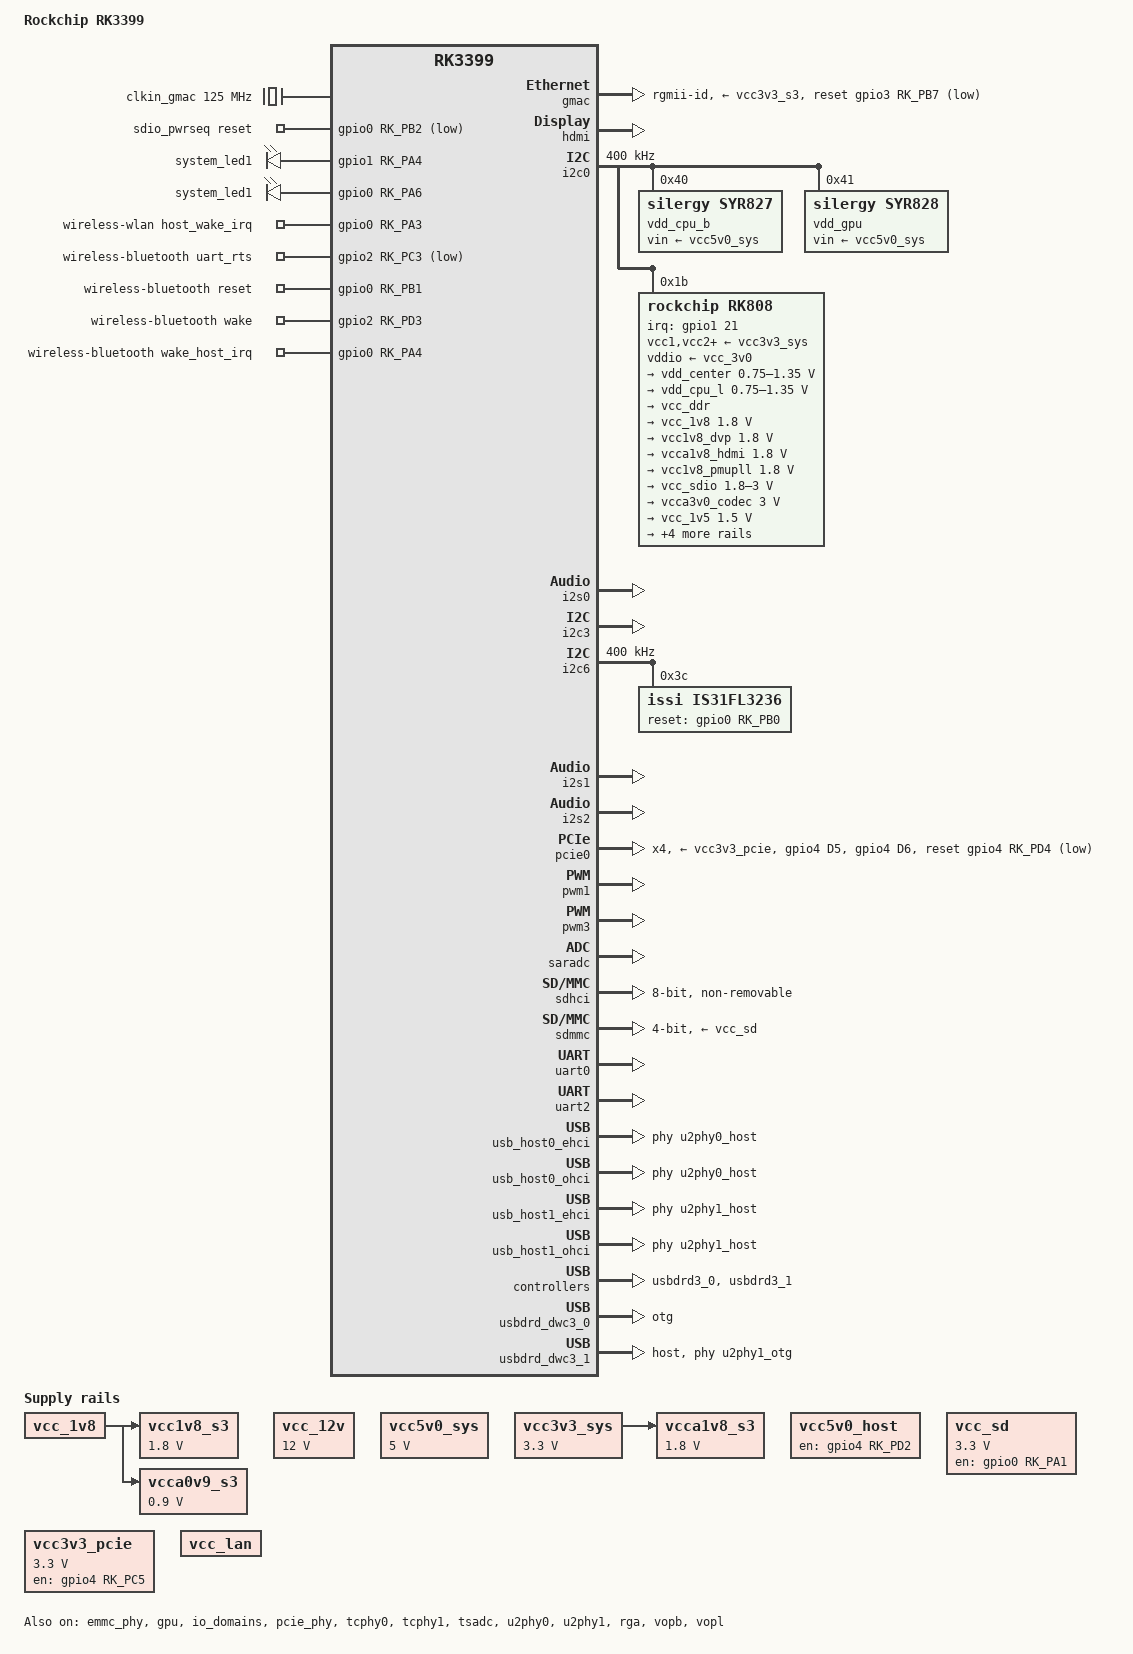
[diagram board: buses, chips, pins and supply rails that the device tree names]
// SPDX-License-Identifier: (GPL-2.0+ OR MIT)

/dts-v1/;
#include <dt-bindings/input/linux-event-codes.h>
#include <dt-bindings/leds/common.h>
#include <dt-bindings/pwm/pwm.h>
#include <dt-bindings/gpio/gpio.h>
#include "rk3399.dtsi"

/ {
	model = "Rockchip RK3399";
	compatible = "Tara,Tara-M", "rockchip,rk3399";

	aliases {
		mmc0 = &sdhci;
		mmc1 = &sdmmc;
		mmc2 = &sdio0;
	};

	chosen {
		stdout-path = "serial2:1500000n8";
	};


	clkin_gmac: external-gmac-clock {
		compatible = "fixed-clock";
		clock-frequency = <125000000>;
		clock-output-names = "clkin_gmac";
		#clock-cells = <0>;
	};

	clkin_gmac: external-gmac-clock {
		compatible = "fixed-clock";
		clock-frequency = <125000000>;
		clock-output-names = "clkin_gmac";
		#clock-cells = <0>;
	};

	sdio_pwrseq: sdio-pwrseq {
		compatible = "mmc-pwrseq-simple";
		clocks = <&rk808 1>;
		clock-names = "ext_clock";
		pinctrl-names = "default";
		pinctrl-0 = <&wifi_enable_h>;
		reset-gpios = <&gpio0 RK_PB2 GPIO_ACTIVE_LOW>;
	};

	vcc_12v: vcc-12v {
		compatible = "regulator-fixed";
		regulator-name = "vcc_12v";
		regulator-always-on;
		regulator-min-microvolt = <12000000>;
		regulator-max-microvolt = <12000000>;
	};

	vcc5v0_sys: vcc5v0-sys {
		compatible = "regulator-fixed";
		regulator-name = "vcc5v0_sys";
		regulator-always-on;
		regulator-min-microvolt = <5000000>;
		regulator-max-microvolt = <5000000>;
	};

	vcc1v8_s3: vcc1v8-s3 {
		compatible = "regulator-fixed";
		regulator-name = "vcc1v8_s3";
		regulator-always-on;
		regulator-min-microvolt = <1800000>;
		regulator-max-microvolt = <1800000>;
		vin-supply = <&vcc_1v8>;
	};

	vcc3v3_sys: vcc3v3-sys {
		compatible = "regulator-fixed";
		regulator-name = "vcc3v3_sys";
		regulator-always-on;
		regulator-boot-on;
		regulator-min-microvolt = <3300000>;
		regulator-max-microvolt = <3300000>;
	};

	vcc5v0_host: vcc5v0-host-regulator {
		compatible = "regulator-fixed";
		enable-active-high;
		gpio = <&gpio4 RK_PD2 GPIO_ACTIVE_HIGH>;
		pinctrl-names = "default";
		pinctrl-0 = <&vcc5v0_host_en>;
		regulator-name = "vcc5v0_host";
	};

	vcc_sd: vcc-sd {
		compatible = "regulator-fixed";
		regulator-name = "vcc_sd";
		enable-active-high;
		gpio = <&gpio0 RK_PA1 GPIO_ACTIVE_HIGH>;
		pinctrl-names = "default";
		pinctrl-0 = <&vcc_sd_h>;
		regulator-min-microvolt = <3300000>;
		regulator-max-microvolt = <3300000>;
	};

	vcc3v3_pcie: vcc3v3-pcie-regulator {
		compatible = "regulator-fixed";
		regulator-name = "vcc3v3_pcie";
		enable-active-high;
		gpio = <&gpio4 RK_PC5 GPIO_ACTIVE_HIGH>;
		pinctrl-names = "default";
		pinctrl-0 = <&pcie_pwr_en>;
		regulator-min-microvolt = <3300000>;
		regulator-max-microvolt = <3300000>;
		regulator-always-on;
		regulator-boot-on;
	};

	vcca1v8_s3: vcca1v8-s3 {
		compatible = "regulator-fixed";
		regulator-name = "vcca1v8_s3";
		regulator-always-on;
		regulator-boot-on;
		regulator-min-microvolt = <1800000>;
		regulator-max-microvolt = <1800000>;
		vin-supply = <&vcc3v3_sys>;
	};

	vcca0v9_s3: vcca0v9-s3 {
		compatible = "regulator-fixed";
		regulator-name = "vcca0v9_s3";
		regulator-always-on;
		regulator-boot-on;
		regulator-min-microvolt = <900000>;
		regulator-max-microvolt = <900000>;
		vin-supply = <&vcc_1v8>;
	};

	vcc_lan: vcc3v3-phy-regulator {
		compatible = "regulator-fixed";
		regulator-name = "vcc_lan";
		regulator-always-on;
		regulator-boot-on;
	};

	hdmi-sound {
		compatible = "simple-audio-card";
		simple-audio-card,format = "i2s";
		simple-audio-card,mclk-fs = <256>;
		simple-audio-card,name = "hdmi-sound";
		status = "okay";

		simple-audio-card,cpu {
			sound-dai = <&i2s2>;
		};
		simple-audio-card,codec {
			sound-dai = <&hdmi>;
		};
	};


	leds {
		compatible = "gpio-leds";
		pinctrl-names = "default";
		pinctrl-0 = <&leds_pins>;

		system-led1 {
			gpios = <&gpio1 RK_PA4 GPIO_ACTIVE_HIGH>;
			label = "system_led1";
			retain-state-suspended;
			linux,default-trigger = "default-on";
			default-state = "on";
		};
//风扇GPIO目前写成LED控制，兼容飞牛，默认开启风扇		
		system-led2 {
			gpios = <&gpio0 RK_PA6 GPIO_ACTIVE_HIGH>;
			label = "system_led1";
			retain-state-suspended;
			linux,default-trigger = "default-on";
			default-state = "on";
		};
	};
/*根据温度启停风扇，飞牛此配置无效。
	fan0: gpio-fan {
		#cooling-cells = <2>;
		compatible = "gpio-fan";
		gpio-fan,speed-map = <0 0 3000 1>;
		gpios = <&gpio0 RK_PA6 GPIO_ACTIVE_HIGH>;
		status = "okay";
	};*/


	wireless-wlan {
		compatible = "wlan-platdata";
		rockchip,grf = <&grf>;
		wifi_chip_type = "rtl8822cs";
		sdio_vref = <1800>;
		//pinctrl-names = "default";
        //pinctrl-0 = <&wifi_host_wake_irq>,<&wifi_enable_h>;
		WIFI,host_wake_irq = <&gpio0 RK_PA3 0>; /* GPIO0_a3 */
		//WIFI,poweren_gpio = <&gpio0 RK_PB2 GPIO_ACTIVE_HIGH>;
		status = "okay";
	};

	wireless-bluetooth {
		compatible = "bluetooth-platdata";
		//clocks = <&rk808 1>;
		//clock-names = "ext_clock";
		uart_rts_gpios = <&gpio2 RK_PC3 1>; /* GPIO2_C3 */
		pinctrl-names = "default", "rts_gpio";
		//pinctrl-0 = <&uart0_rts>, <&bt_reset_gpio>, <&bt_irq_gpio>;
		pinctrl-0 = <&uart0_rts>;
		pinctrl-1 = <&uart0_gpios>;
		BT,reset_gpio = <&gpio0 RK_PB1 0>; /* GPIO0_B1 */
        BT,wake_gpio = <&gpio2 RK_PD3 0>; /* GPIO2_D2 */
        BT,wake_host_irq = <&gpio0 RK_PA4 0>; /* GPIO0_A4 */
		status = "okay";
	};

};

&cpu_l0 {
	cpu-supply = <&vdd_cpu_l>;
};

&cpu_l1 {
	cpu-supply = <&vdd_cpu_l>;
};

&cpu_l2 {
	cpu-supply = <&vdd_cpu_l>;
};

&cpu_l3 {
	cpu-supply = <&vdd_cpu_l>;
};

&cpu_b0 {
	cpu-supply = <&vdd_cpu_b>;
};

&cpu_b1 {
	cpu-supply = <&vdd_cpu_b>;
};
/*根据温度启停风扇
&cpu_thermal {
	trips {
		cpu_hot: cpu_hot {
			hysteresis = <10000>;
			temperature = <30000>;
			type = "active";
		};
	};

	cooling-maps {
		map2 {
			cooling-device =
				<&fan0 THERMAL_NO_LIMIT THERMAL_NO_LIMIT>;
			trip = <&cpu_hot>;
		};
	};
};
*/
&emmc_phy {
	status = "okay";
};

&gmac {
	assigned-clocks = <&cru SCLK_RMII_SRC>;
	assigned-clock-parents = <&clkin_gmac>;
	clock_in_out = "input";
	phy-supply = <&vcc3v3_s3>;
	phy-mode = "rgmii-id";
	pinctrl-names = "default";
	pinctrl-0 = <&rgmii_pins>;
	snps,reset-gpio = <&gpio3 RK_PB7 GPIO_ACTIVE_LOW>;
	snps,reset-active-low;
	snps,reset-delays-us = <0 10000 50000>;
	tx_delay = <0x2a>;
	rx_delay = <0x21>;
	status = "okay";
	label = "eth0";
};

&gpu {
	mali-supply = <&vdd_gpu>;
	status = "okay";
};

&hdmi {
	avdd-0v9-supply = <&vcca0v9_s3>;
	avdd-1v8-supply = <&vcca1v8_s3>;
	ddc-i2c-bus = <&i2c3>;
	pinctrl-names = "default";
	pinctrl-0 = <&hdmi_cec>;
	status = "okay";
};

&i2c0 {
	clock-frequency = <400000>;
	i2c-scl-rising-time-ns = <168>;
	i2c-scl-falling-time-ns = <4>;
	status = "okay";


	vdd_cpu_b: syr827@40 {
		compatible = "silergy,syr827";
		reg = <0x40>;
		fcs,suspend-voltage-selector = <1>;
		regulator-name = "vdd_cpu_b";
		regulator-min-microvolt = <712500>;
		regulator-max-microvolt = <1500000>;
		regulator-ramp-delay = <1000>;
		regulator-always-on;
		regulator-boot-on;
		vin-supply = <&vcc5v0_sys>;
		status = "okay";

		regulator-state-mem {
			regulator-off-in-suspend;
		};
	};

	vdd_gpu: syr828@41 {
		compatible = "silergy,syr828";
		reg = <0x41>;
		fcs,suspend-voltage-selector = <1>;
		regulator-name = "vdd_gpu";
		regulator-min-microvolt = <712500>;
		regulator-max-microvolt = <1500000>;
		regulator-ramp-delay = <1000>;
		regulator-always-on;
		regulator-boot-on;
		vin-supply = <&vcc5v0_sys>;
		regulator-state-mem {
			regulator-off-in-suspend;
		};
	};
	rk808: pmic@1b {
		compatible = "rockchip,rk808";
		reg = <0x1b>;
		interrupt-parent = <&gpio1>;
		interrupts = <21 IRQ_TYPE_LEVEL_LOW>;
		#clock-cells = <1>;
		clock-output-names = "xin32k", "rk808-clkout2";
		pinctrl-names = "default";
		pinctrl-0 = <&pmic_int_l>;
		rockchip,system-power-controller;
		wakeup-source;

		vcc1-supply = <&vcc3v3_sys>;
		vcc2-supply = <&vcc3v3_sys>;
		vcc3-supply = <&vcc3v3_sys>;
		vcc4-supply = <&vcc3v3_sys>;
		vcc6-supply = <&vcc3v3_sys>;
		vcc7-supply = <&vcc3v3_sys>;
		vcc8-supply = <&vcc3v3_sys>;
		vcc9-supply = <&vcc3v3_sys>;
		vcc10-supply = <&vcc3v3_sys>;
		vcc11-supply = <&vcc3v3_sys>;
		vcc12-supply = <&vcc3v3_sys>;
		vddio-supply = <&vcc_3v0>;

		regulators {
			vdd_center: DCDC_REG1 {
				regulator-name = "vdd_center";
				regulator-always-on;
				regulator-boot-on;
				regulator-min-microvolt = <750000>;
				regulator-max-microvolt = <1350000>;
				regulator-ramp-delay = <6001>;

				regulator-state-mem {
					regulator-off-in-suspend;
				};
			};

			vdd_cpu_l: DCDC_REG2 {
				regulator-name = "vdd_cpu_l";
				regulator-always-on;
				regulator-boot-on;
				regulator-min-microvolt = <750000>;
				regulator-max-microvolt = <1350000>;
				regulator-ramp-delay = <6001>;

				regulator-state-mem {
					regulator-off-in-suspend;
				};
			};

			vcc_ddr: DCDC_REG3 {
				regulator-name = "vcc_ddr";
				regulator-always-on;
				regulator-boot-on;

				regulator-state-mem {
					regulator-on-in-suspend;
				};
			};

			vcc_1v8: DCDC_REG4 {
				regulator-name = "vcc_1v8";
				regulator-always-on;
				regulator-boot-on;
				regulator-min-microvolt = <1800000>;
				regulator-max-microvolt = <1800000>;

				regulator-state-mem {
					regulator-on-in-suspend;
					regulator-suspend-microvolt = <1800000>;
				};
			};

			vcc1v8_dvp: LDO_REG1 {
				regulator-name = "vcc1v8_dvp";
				regulator-always-on;
				regulator-boot-on;
				regulator-min-microvolt = <1800000>;
				regulator-max-microvolt = <1800000>;

				regulator-state-mem {
					regulator-on-in-suspend;
					regulator-suspend-microvolt = <1800000>;
				};
			};

			vcca1v8_hdmi: LDO_REG2 {
				regulator-name = "vcca1v8_hdmi";
				regulator-min-microvolt = <1800000>;
				regulator-max-microvolt = <1800000>;
				regulator-always-on;
				regulator-boot-on;
				regulator-state-mem {
					regulator-on-in-suspend;
					regulator-suspend-microvolt = <1800000>;
				};
			};

			vcc1v8_pmupll: LDO_REG3 {
				regulator-name = "vcc1v8_pmupll";
				regulator-always-on;
				regulator-boot-on;
				regulator-min-microvolt = <1800000>;
				regulator-max-microvolt = <1800000>;

				regulator-state-mem {
					regulator-on-in-suspend;
					regulator-suspend-microvolt = <1800000>;
				};
			};

			vcc_sdio: LDO_REG4 {
				regulator-name = "vcc_sdio";
				regulator-always-on;
				regulator-boot-on;
				regulator-min-microvolt = <1800000>;
				regulator-max-microvolt = <3000000>;

				regulator-state-mem {
					regulator-on-in-suspend;
					regulator-suspend-microvolt = <3000000>;
				};
			};

			vcca3v0_codec: LDO_REG5 {
				regulator-name = "vcca3v0_codec";
				regulator-always-on;
				regulator-boot-on;
				regulator-min-microvolt = <3000000>;
				regulator-max-microvolt = <3000000>;

				regulator-state-mem {
					regulator-on-in-suspend;
					regulator-suspend-microvolt = <3000000>;
				};
			};

			vcc_1v5: LDO_REG6 {
				regulator-name = "vcc_1v5";
				regulator-always-on;
				regulator-boot-on;
				regulator-min-microvolt = <1500000>;
				regulator-max-microvolt = <1500000>;

				regulator-state-mem {
					regulator-on-in-suspend;
					regulator-suspend-microvolt = <1500000>;
				};
			};

			vcca0v9_hdmi: LDO_REG7 {
				regulator-name = "vcca0v9_hdmi";
				regulator-min-microvolt = <900000>;
				regulator-max-microvolt = <900000>;
				regulator-always-on;
				regulator-boot-on;
				regulator-state-mem {
					regulator-on-in-suspend;
					regulator-suspend-microvolt = <900000>;
				};
			};

			vcc_3v0: LDO_REG8 {
				regulator-name = "vcc_3v0";
				regulator-always-on;
				regulator-boot-on;
				regulator-min-microvolt = <3000000>;
				regulator-max-microvolt = <3000000>;

				regulator-state-mem {
					regulator-on-in-suspend;
					regulator-suspend-microvolt = <3000000>;
				};
			};

			vcc3v3_s3: SWITCH_REG1 {
				regulator-name = "vcc3v3_s3";
				regulator-always-on;
				regulator-boot-on;

				regulator-state-mem {
					regulator-off-in-suspend;
				};
			};

			vcc3v3_s0: SWITCH_REG2 {
				regulator-name = "vcc3v3_s0";
				regulator-always-on;
				regulator-boot-on;

				regulator-state-mem {
					regulator-off-in-suspend;
				};
			};
		};
	};

	hym8563: hym8563@51 {
			status = "disabled";
			compatible = "haoyu,hym8563";
			reg = <0x51>;

			irq_gpio = <&gpio1 RK_PC6 IRQ_TYPE_EDGE_FALLING>;
			#clock-cells = <0x0>;
			clock-frequency = <32768>;
			clock-output-names = "hym8563_32k_to_rk808";
		};

};

&i2s0 {
	status = "okay";
	rockchip,i2s-broken-burst-len;
	rockchip,playback-channels = <8>;
	rockchip,capture-channels = <8>;
	#sound-dai-cells = <0>;
};

&i2c1 {
	status = "disabled";
	i2c-scl-rising-time-ns = <168>;
	i2c-scl-falling-time-ns = <4>;

};

&i2c3 {
	status = "okay";
};

&i2c4 {
	clock-frequency = <400000>;
	i2c-scl-rising-time-ns = <160>;
	i2c-scl-falling-time-ns = <30>;
	status = "disabled";

	fusb0: fusb30x@22 {
			status = "okay";
			compatible = "fairchild,fusb302";
			reg = <0x22>;
			pinctrl-names = "default";
			pinctrl-0 = <&fusb0_int>;
			int-n-gpios = <&gpio1 RK_PA2 GPIO_ACTIVE_HIGH>;
			vbus-5v-gpios = <&gpio1 RK_PA3 GPIO_ACTIVE_HIGH>;
		};
};
// 电饭煲LED阵列控制，编译时候请在内核勾选is31fl32XX驱动
&i2c6 {
	clock-frequency = <400000>;
	status = "okay";

	is31fl3236: led-controller@3c {
		compatible = "issi,is31fl3236";
		reg = <0x3c>;
		#address-cells = <1>;
		#size-cells = <0>;
		reset-gpios = <&gpio0 RK_PB0 GPIO_ACTIVE_HIGH>;
		status = "okay";
		//red
		led1: led@1 {
			label = "led1";
			reg = <1>;
			//led-max-microamp = <10000>;
			//linux,default-trigger = "timer";
			//linux,default-trigger-delay-ms = <0>;
			//linux,blink-delay-on-ms = <100>;
			//linux,blink-delay-off-ms = <1200>;
		};
		//green
		led2: led@2 {
			label = "led2";
			reg = <2>;
			//led-max-microamp = <10000>;
			//linux,default-trigger = "timer";
			//linux,default-trigger-delay-ms = <0>;
			//linux,blink-delay-on-ms = <100>;
			//linux,blink-delay-off-ms = <1200>;
		};
		//blue
		led3: led@3 {
			label = "led3";
			reg = <3>;
			led-max-microamp = <10000>;
			linux,default-trigger = "default-on";
		};
		//red
		led4: led@4 {
			label = "led4";
			reg = <4>;
			//led-max-microamp = <10000>;
			//linux,default-trigger = "timer";
			//linux,default-trigger-delay-ms = <100>;
			//linux,blink-delay-on-ms = <100>;
			//linux,blink-delay-off-ms = <1200>;
		};
		//green
		led5: led@5 {
			label = "led5";
			reg = <5>;
			//led-max-microamp = <10000>;
			//linux,default-trigger = "timer";
			//linux,default-trigger-delay-ms = <100>;
			//linux,blink-delay-on-ms = <100>;
			//linux,blink-delay-off-ms = <1200>;
		};
		//blue
		led6: led@6 {
			label = "led6";
			reg = <6>;
			led-max-microamp = <10000>;
			linux,default-trigger = "default-on";
		};
		//red
		led7: led@7 {
			label = "led7";
			reg = <7>;
			//led-max-microamp = <10000>;
			//linux,default-trigger = "timer";
			//linux,default-trigger-delay-ms = <200>;
			//linux,blink-delay-on-ms = <100>;
			//linux,blink-delay-off-ms = <1200>;
		};
		//green
		led8: led@8 {
			label = "led8";
			reg = <8>;
			//led-max-microamp = <10000>;
			//linux,default-trigger = "timer";
			//linux,default-trigger-delay-ms = <200>;
			//linux,blink-delay-on-ms = <100>;
			//linux,blink-delay-off-ms = <1200>;
		};
		//blue
		led9: led@9 {
			label = "led9";
			reg = <9>;
			led-max-microamp = <10000>;
			linux,default-trigger = "default-on";
		};
		//red
		led10: led@10 {
			label = "led10";
			reg = <10>;
			//led-max-microamp = <10000>;
			//linux,default-trigger = "timer";
			//linux,default-trigger-delay-ms = <300>;
			//linux,blink-delay-on-ms = <100>;
			//linux,blink-delay-off-ms = <1200>;
		};
		//green
		led11: led@11 {
			label = "led11";
			reg = <11>;
			//led-max-microamp = <10000>;
			//linux,default-trigger = "timer";
			//linux,default-trigger-delay-ms = <300>;
			//linux,blink-delay-on-ms = <100>;
			//linux,blink-delay-off-ms = <1200>;;
		};
		//blue
		led12: led@12 {
			label = "led12";
			reg = <12>;
			led-max-microamp = <10000>;
			linux,default-trigger = "default-on";
		};

		led13: led@13 {
			label = "led13";
			reg = <13>;
			//led-max-microamp = <10000>;
			//linux,default-trigger = "timer";
			//linux,default-trigger-delay-ms = <400>;
			//linux,blink-delay-on-ms = <100>;
			//linux,blink-delay-off-ms = <1200>;
		};

		led14: led@14 {
			label = "led14";
			reg = <14>;
			//led-max-microamp = <10000>;
			//linux,default-trigger = "timer";
			//linux,default-trigger-delay-ms = <400>;
			//linux,blink-delay-on-ms = <100>;
			//linux,blink-delay-off-ms = <1200>;
		};

		led15: led@15 {
			label = "led15";
			reg = <15>;
			led-max-microamp = <10000>;
			linux,default-trigger = "default-on";
		};

		led16: led@16 {
			label = "led16";
			reg = <16>;
			//led-max-microamp = <10000>;
			//linux,default-trigger = "timer";
			//linux,default-trigger-delay-ms = <500>;
			//linux,blink-delay-on-ms = <100>;
			//linux,blink-delay-off-ms = <1200>;
		};

		led17: led@17 {
			label = "led17";
			reg = <17>;
			//led-max-microamp = <10000>;
			//linux,default-trigger = "timer";
			//linux,default-trigger-delay-ms = <500>;
			//linux,blink-delay-on-ms = <100>;
			//linux,blink-delay-off-ms = <1200>;
		};

		led18: led@18 {
			label = "led18";
			reg = <18>;
			led-max-microamp = <10000>;
			linux,default-trigger = "default-on";
		};

		led19: led@19 {
			label = "led19";
			reg = <19>;
			//led-max-microamp = <10000>;
			//linux,default-trigger = "timer";
			//linux,default-trigger-delay-ms = <600>;
			//linux,blink-delay-on-ms = <100>;
			//linux,blink-delay-off-ms = <1200>;
		};

		led20: led@20 {
			label = "led20";
			reg = <20>;
			//led-max-microamp = <10000>;
			//linux,default-trigger = "timer";
			//linux,default-trigger-delay-ms = <600>;
			//linux,blink-delay-on-ms = <100>;
			//linux,blink-delay-off-ms = <1200>;
		};

		led21: led@21 {
			label = "led21";
			reg = <21>;
			led-max-microamp = <10000>;
			linux,default-trigger = "default-on";
		};

		led22: led@22 {
			label = "led22";
			reg = <22>;
			//led-max-microamp = <10000>;
			//linux,default-trigger = "timer";
			//linux,default-trigger-delay-ms = <700>;
			//linux,blink-delay-on-ms = <100>;
			//linux,blink-delay-off-ms = <1200>;
		};

		led23: led@23 {
			label = "led23";
			reg = <23>;
			//led-max-microamp = <10000>;
			//linux,default-trigger = "timer";
			//linux,default-trigger-delay-ms = <700>;
			//linux,blink-delay-on-ms = <100>;
			//linux,blink-delay-off-ms = <1200>;
		};

		led124: led@24 {
			label = "led24";
			reg = <24>;
			led-max-microamp = <10000>;
			linux,default-trigger = "default-on";
		};

		led25: led@25 {
			label = "led25";
			reg = <25>;
			//led-max-microamp = <10000>;
			//linux,default-trigger = "timer";
			//linux,default-trigger-delay-ms = <800>;
			//linux,blink-delay-on-ms = <100>;
			//linux,blink-delay-off-ms = <1200>;
		};

		led26: led@26 {
			label = "led26";
			reg = <26>;
			//led-max-microamp = <10000>;
			//linux,default-trigger = "timer";
			//linux,default-trigger-delay-ms = <800>;
			//linux,blink-delay-on-ms = <100>;
			//linux,blink-delay-off-ms = <1200>;
		};

		led27: led@27 {
			label = "led27";
			reg = <27>;
			led-max-microamp = <10000>;
			linux,default-trigger = "default-on";
		};

		led28: led@28 {
			label = "led28";
			reg = <28>;
			//led-max-microamp = <10000>;
			//linux,default-trigger = "timer";
			//linux,default-trigger-delay-ms = <900>;
			//linux,blink-delay-on-ms = <100>;
			//linux,blink-delay-off-ms = <1200>;
		};

		led29: led@29 {
			label = "led29";
			reg = <29>;
			//led-max-microamp = <10000>;
			//linux,default-trigger = "timer";
			//linux,default-trigger-delay-ms = <900>;
			//linux,blink-delay-on-ms = <100>;
			//linux,blink-delay-off-ms = <1200>;
		};

		led30: led@30 {
			label = "led30";
			reg = <30>;
			led-max-microamp = <10000>;
			linux,default-trigger = "default-on";
		};

		led31: led@31 {
			label = "led31";
			reg = <31>;
			//led-max-microamp = <10000>;
			//linux,default-trigger = "timer";
			//linux,default-trigger-delay-ms = <1000>;
			//linux,blink-delay-on-ms = <100>;
			//linux,blink-delay-off-ms = <1200>;
		};

		led32: led@32 {
			label = "led32";
			reg = <32>;
			//led-max-microamp = <10000>;
			//linux,default-trigger = "timer";
			//linux,default-trigger-delay-ms = <1000>;
			//linux,blink-delay-on-ms = <100>;
			//linux,blink-delay-off-ms = <1200>;
		};

		led33: led@33 {
			label = "led33";
			reg = <33>;
			led-max-microamp = <10000>;
			linux,default-trigger = "default-on";
		};

		led34: led@34 {
			label = "led34";
			reg = <34>;
			led-max-microamp = <10000>;
			linux,default-trigger = "default-on";
			//linux,default-trigger = "timer";
			//linux,default-trigger-delay-ms = <1100>;
			//linux,blink-delay-on-ms = <100>;
			//linux,blink-delay-off-ms = <1200>;
		};

		led35: led@35 {
			label = "led35";
			reg = <35>;
			led-max-microamp = <10000>;
			linux,default-trigger = "default-on";
			//linux,default-trigger = "timer";
			//linux,default-trigger-delay-ms = <1100>;
			//linux,blink-delay-on-ms = <100>;
			//linux,blink-delay-off-ms = <1200>;
		};

		led36: led@36 {
			label = "led36";
			reg = <36>;
			led-max-microamp = <10000>;
			linux,default-trigger = "default-on";
		};
	};
};

&i2s1 {
	status = "okay";
	rockchip,i2s-broken-burst-len;
	rockchip,playback-channels = <8>;
	rockchip,capture-channels = <8>;
	#sound-dai-cells = <0>;
};

&i2s2 {
    status = "okay";
};

&io_domains {
	status = "okay";

	bt656-supply = <&vcc_3v0>;
	audio-supply = <&vcc_1v8>;
	sdmmc-supply = <&vcc_sdio>;
	gpio1830-supply = <&vcc_3v0>;
};

&pcie_phy {
	status = "okay";
};

&pcie0 {
	ep-gpios = <&gpio4 RK_PD1 GPIO_ACTIVE_HIGH>;
	reset-gpios = <&gpio4 RK_PD4 GPIO_ACTIVE_LOW>;
	num-lanes = <4>;
	max-link-speed = <1>;
	pinctrl-names = "default";
	pinctrl-0 = <&pcie_clkreqn_cpm &sata_en_h>;
	vpcie3v3-supply = <&vcc3v3_pcie>;
	//vpcie0v9-supply = <&vcca0v9_s3>;
	//vpcie1v8-supply = <&vcca1v8_s3>;
	status = "okay";
};

&pmu_io_domains {
	status = "okay";

	pmu1830-supply = <&vcc_1v8>;
};

&pinctrl {

	rtc {
		rtc_int: rtc-int {
		rockchip,pins = <1 RK_PC6 RK_FUNC_GPIO &pcfg_pull_up>;
		};
	};
	pcie {
		sata_en_h: sata-en-h {
			rockchip,pins = <4 RK_PD5 RK_FUNC_GPIO &pcfg_output_high>,
					<4 RK_PD6 RK_FUNC_GPIO &pcfg_output_high>;
		};

		pcie_pwr_en: pcie-pwr-en {
			rockchip,pins = <4 RK_PC5 RK_FUNC_GPIO &pcfg_pull_none>;
		};
	};

	pmic {
		pmic_int_l: pmic-int-l {
			rockchip,pins = <1 RK_PC5 RK_FUNC_GPIO &pcfg_pull_up>;
		};

		vsel1_pin: vsel1-pin {
			rockchip,pins = <1 RK_PC1 RK_FUNC_GPIO &pcfg_pull_down>;
		};

		vsel2_pin: vsel2-pin {
			rockchip,pins = <1 RK_PB6 RK_FUNC_GPIO &pcfg_pull_down>;
		};
	};

	usb2 {
		vcc5v0_host_en: vcc5v0-host-en {
			rockchip,pins = <1 RK_PD0 RK_FUNC_GPIO &pcfg_pull_none>;
		};

		vcc5v0_typec_en: vcc5v0-typec-en {
			rockchip,pins = <1 RK_PA3 RK_FUNC_GPIO &pcfg_output_high>;
		};

	};

	vcc_sd {
		vcc_sd_h: vcc-sd-h {
			rockchip,pins = <0 RK_PA1 RK_FUNC_GPIO &pcfg_pull_up>;
		};
	};

	fusb30x {
		fusb0_int: fusb0-int {
			rockchip,pins = <1 RK_PA3 RK_FUNC_GPIO &pcfg_pull_none>;
		};
	};

	sdio-pwrseq {
        wifi_enable_h: wifi-enable-h {
            rockchip,pins =
                <0 RK_PB2 0 &pcfg_pull_none>;
        };
	};

	wireless-bluetooth {
        uart0_gpios: uart0-gpios {
            rockchip,pins =
                <2 RK_PC3 0 &pcfg_pull_none>;
        };
};

	leds {
		leds_pins: leds-pins {
			rockchip,pins = <1 RK_PA4 RK_FUNC_GPIO &pcfg_pull_none>,
							<0 RK_PA6 RK_FUNC_GPIO &pcfg_pull_none>;
		};
	};

	headphone {

			hp_det: hp-det {
				rockchip,pins = <4 RK_PD4 RK_FUNC_GPIO &pcfg_pull_none>;
			};

			spk_con: spk-con {
				rockchip,pins = <0 RK_PB3 RK_FUNC_GPIO &pcfg_pull_none>;
			};
};

	gmac {
		phy_rst_l: phy-rst-l {
			rockchip,pins = <3 RK_PB7 RK_FUNC_GPIO &pcfg_pull_none>;
		};
	};

};

&pwm1 {
	status = "okay";
};

&pwm3 {
	status = "okay";
	pinctrl-names = "active";
};

&saradc {
	status = "okay";
};

&sdhci {
	bus-width = <8>;
	mmc-hs400-1_8v;
	supports-emmc;
	non-removable;
	keep-power-in-suspend;
	mmc-hs400-enhanced-strobe;
	status = "okay";
};

&sdmmc {
	clock-frequency = <150000000>;
	clock-freq-min-max = <400000 150000000>;
	supports-sd;
	bus-width = <4>;
	cap-mmc-highspeed;
	cap-sd-highspeed;
	disable-wp;
	num-slots = <1>;
	sd-uhs-sdr104;
	vmmc-supply = <&vcc_sd>;
	vqmmc-supply = <&vcc_sdio>;
	pinctrl-names = "default";
	pinctrl-0 = <&sdmmc_clk &sdmmc_cmd &sdmmc_cd &sdmmc_bus4>;
	status = "okay";
};

&sdio0 {
    clock-frequency = <150000000>;
	no-sd;
	no-mmc;
    supports-sdio;
    bus-width = <4>;
    disable-wp;
    cap-sd-highspeed;
    cap-sdio-irq;
    keep-power-in-suspend;
    mmc-pwrseq = <&sdio_pwrseq>;
    non-removable;
    num-slots = <1>;
    pinctrl-names = "default";
    pinctrl-0 = <&sdio0_bus4 &sdio0_cmd &sdio0_clk>;
    sd-uhs-sdr104;
    status = "disabled";
};

&spi1 {
	status = "disabled";

	flash@0 {
		compatible = "jedec,spi-nor";
		reg = <0x00>;
		spi-max-frequency = <10000000>;
	};
};

&tcphy0 {
	extcon = <&fusb0>;
	status = "okay";
};

&tcphy1 {
	status = "okay";
};

&tsadc {
	status = "okay";

	/* tshut mode 0:CRU 1:GPIO */
	rockchip,hw-tshut-mode = <1>;
	/* tshut polarity 0:LOW 1:HIGH */
	rockchip,hw-tshut-polarity = <1>;
};

&u2phy0 {
	status = "okay";
	extcon = <&fusb0>;

	u2phy0_host: host-port {
		phy-supply = <&vcc5v0_host>;
		status = "okay";
	};

	u2phy0_otg: otg-port {
		//vbus-supply = <&vcc5v0_host>;
		status = "okay";
	};

};

&u2phy1 {
	status = "okay";

	u2phy1_otg: otg-port {
		status = "okay";
	};

	u2phy1_host: host-port {
		phy-supply = <&vcc5v0_host>;
		status = "okay";
	};
};

&uart0 {
	pinctrl-names = "default";
	pinctrl-0 = <&uart0_xfer &uart0_cts>;
	status = "okay";
};

&uart2 {
	status = "okay";
};

&usb_host0_ehci {
    status = "okay";
    phys = <&u2phy0_host>;
    phy-names = "usb";
};

&usb_host0_ohci {
    status = "okay";
    phys = <&u2phy0_host>;
    phy-names = "usb";
};

&usb_host1_ehci {
    status = "okay";
    phys = <&u2phy1_host>;
    phy-names = "usb";
};

&usb_host1_ohci {
    status = "okay";
    phys = <&u2phy1_host>;
    phy-names = "usb";
};

&usbdrd3_0{
        status = "okay";
};

&usbdrd_dwc3_0 {
	dr_mode = "otg";
	status = "okay";
	extcon = <&fusb0>;
};

&usbdrd3_1 {
    status = "okay";
};

&cdn_dp {
    compatible = "rockchip,rk3399-cdn-dp";
    phys = <&tcphy0_dp>, <&tcphy1_dp>;
    status = "disabled";
};

&usbdrd_dwc3_1 {
    status = "okay";
    dr_mode = "host";
    phy-names = "usb2-phy", "usb3-phy";
    phys = <&u2phy1_otg>, <&tcphy1_usb3>;
};

&rga {
	status = "okay";
};

&vpu_mmu {
	status = "okay";
};

&vopb {
	status = "okay";
};

&vopb_mmu {
	status = "okay";
};

&vopl {
	status = "okay";
};

&vopl_mmu {
	status = "okay";
};
